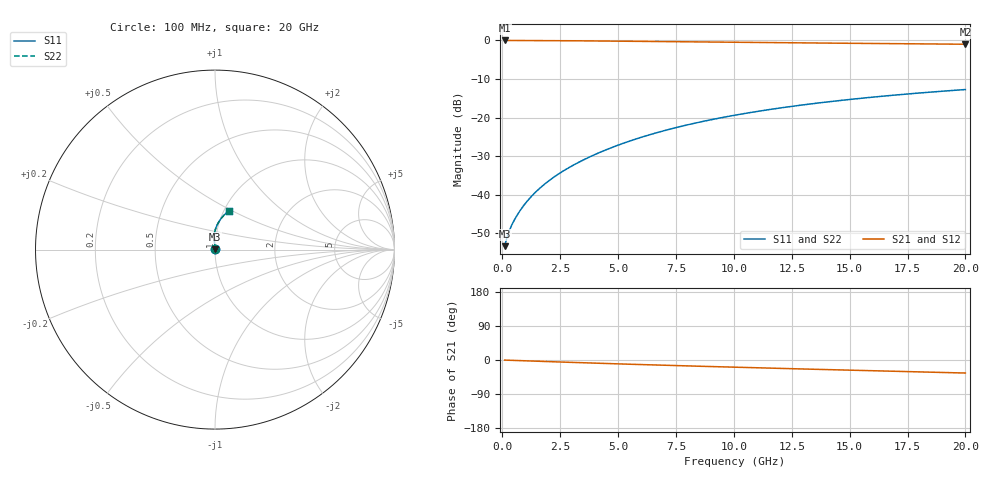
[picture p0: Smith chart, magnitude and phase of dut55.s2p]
! Touchstone file exported from HFSS 2024.1.0
!  File:  C:/UserFiles/LocalFiles/RDL_TSV_Batchsim/temp_RDL_bottom_55_1778693154.aedt
!  Generated:  01:28:23 AM May 14, 2026
!  Design:  RDL_bottom
!  Project:  temp_RDL_bottom_55_1778693154
!  Setup:  Setup1
!  Solution:  Sweep
! Variables:
!  dtsv = 10.80580581um
!  hbump = 3um
!  htsv = 82.56um
!  ldown = 546.64um
!  lrdl = 100um
!  p = 40
!  p1 = 46.38um
!  rhole = 1um
!  t = 450um
!  tdown = 3.95um
!  trdl = 3.915915916um
!  wdown = 29.64um
!  wrdl = 20um
# GHz S MA R 50.000000
! Terminal data exported
! Port[1] = RDL1_T1
! Port[2] = RDL1_T2
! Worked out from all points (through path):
!   200 points, 100 MHz to 20 GHz, reference 50 ohm
!   highest |S21| = -0.02 dB at 100 MHz (marker M1); lowest = -1.0 dB at 20 GHz (marker M2)
!   group delay of S21, straight-line fit = 4.69 ps
!   lowest |S11| = -53.3 dB at 100 MHz (marker M3), VSWR 1.00, Z = 50.2 + j0.0987 ohm
!   |S11| at or under -10 dB: start of sweep to end of sweep
!   |S22| runs from -53.3 to -12.7 dB; largest |S21 - S12| = 3.2e-15
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0.1  0.002156 27.1  0.9981 -0.2  0.9981 -0.2  0.002156 27.1
! Gamma 0 0 0 0
! Port Impedance 50 0 50 0
0.2  0.00278 41.1  0.9978 -0.5  0.9978 -0.5  0.00278 41.1
0.3  0.0034 48.9  0.9976 -0.7  0.9976 -0.7  0.0034 48.9
0.4  0.003993 54.5  0.9974 -0.9  0.9974 -0.9  0.003993 54.5
0.5  0.004583 59.2  0.9973 -1.1  0.9973 -1.1  0.004583 59.2
0.8  0.006435 69.3  0.9968 -1.7  0.9968 -1.7  0.006435 69.3
1  0.00775 73.9  0.9964 -2.2  0.9964 -2.2  0.00775 73.9
1.2  0.009121 77.5  0.9959 -2.6  0.9959 -2.6  0.009122 77.5
1.7  0.01276 83.8  0.9946 -3.6  0.9946 -3.6  0.01276 83.8
2.2  0.01668 87.9  0.9928 -4.7  0.9928 -4.7  0.01668 87.9
2.8  0.02177 91.2  0.9902 -5.9  0.9902 -5.9  0.02177 91.2
3.5  0.02824 93.6  0.9866 -7.3  0.9866 -7.3  0.02823 93.6
4.2  0.03526 95.0  0.9826 -8.7  0.9826 -8.7  0.03525 95.0
5  0.0439 95.6  0.9777 -10.2  0.9777 -10.2  0.0439 95.6
5.9  0.05431 95.6  0.9719 -11.9  0.9719 -11.9  0.0543 95.5
6.8  0.06528 94.8  0.9659 -13.5  0.9659 -13.5  0.06527 94.8
8.4  0.08572 92.6  0.9555 -16.3  0.9555 -16.3  0.0857 92.6
10.1  0.1081 89.5  0.9449 -19.1  0.9449 -19.1  0.1081 89.5
11.7  0.1292 86.4  0.9354 -21.7  0.9354 -21.7  0.1292 86.3
13.4  0.1513 82.9  0.9258 -24.4  0.9258 -24.4  0.1513 82.9
16.7  0.1926 76.3  0.9082 -29.4  0.9082 -29.4  0.1925 76.3
20  0.2308 70.0  0.8916 -34.4  0.8916 -34.4  0.2308 70.0
